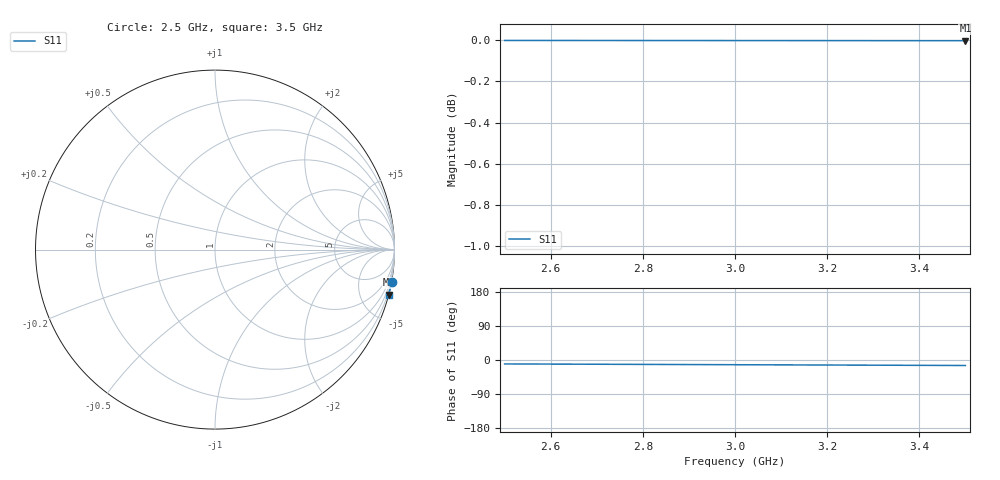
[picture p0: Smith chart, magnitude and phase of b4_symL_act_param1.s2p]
! Sonnet Data File
! From: em Version : 18.53-Lite
! From Project: b4_symL_act
! Data is NOT De-embedded
! Data File Written: 10/12/2026 16:22:55
!< HDATE 10/24/2012 09:32:25
!< MDATE 10/24/2012 09:32:25
!< PARAMS
!< W = 1400.0
!< A2 = 700.0
!< L = 2700.0
!< Y = 1250.0
!< X = 100.0
!< END PARAMS
# GHZ S RI R 50.00000
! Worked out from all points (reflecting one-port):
!   201 points, 2.5 GHz to 3.5 GHz, reference 50 ohm
!   lowest |S11| = 0.0 dB at 3.5 GHz (marker M1)
!   phase of S11 starts at -10 deg and turns -4 deg over the sweep
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2.5  0.9835 -0.1801
2.535  0.9831 -0.1826
2.565  0.9827 -0.1847
2.625  0.9818 -0.1889
2.66  0.9814 -0.1914
2.69  0.9809 -0.1935
2.75  0.9801 -0.1978
2.785  0.9796 -0.2003
2.815  0.9792 -0.2024
2.875  0.9783 -0.2066
2.91  0.9777 -0.2091
2.94  0.9773 -0.2112
2.97  0.9768 -0.2133
3  0.9763 -0.2154
3.03  0.9759 -0.2175
3.06  0.9754 -0.2196
3.09  0.9749 -0.2218
3.125  0.9744 -0.2242
3.155  0.9739 -0.2263
3.185  0.9734 -0.2284
3.22  0.9728 -0.2309
3.25  0.9723 -0.233
3.28  0.9718 -0.2351
3.31  0.9713 -0.2372
3.34  0.9707 -0.2393
3.375  0.9701 -0.2417
3.435  0.9691 -0.2459
3.5  0.9679 -0.2504
